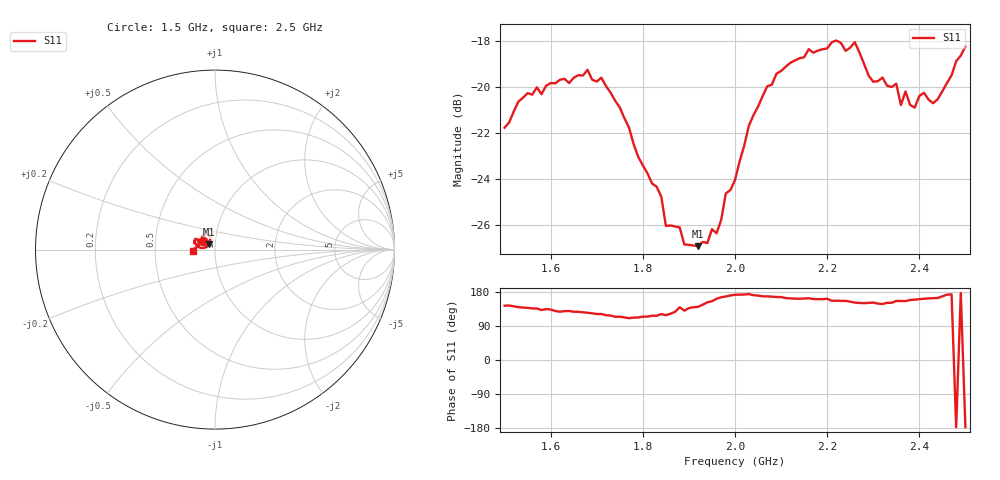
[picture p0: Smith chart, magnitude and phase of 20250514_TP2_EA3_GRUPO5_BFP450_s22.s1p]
# HZ S RI R 50
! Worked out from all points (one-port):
!   101 points, 1.5 GHz to 2.5 GHz, reference 50 ohm
!   lowest |S11| = -26.9 dB at 1.92 GHz (marker M1), VSWR 1.09, Z = 46.6 + j2.7 ohm
!   |S11| at or under -10 dB: start of sweep to end of sweep
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1.5e9  -0.0656 0.0488
1.55e9  -0.0719 0.0653
1.63e9  -0.0656 0.0812
1.68e9  -0.0621 0.0899
1.75e9  -0.0372 0.0824
1.79e9  -0.0267 0.0654
1.84e9  -0.03 0.0495
1.85e9  -0.0237 0.044
1.88e9  -0.0375 0.0324
1.89e9  -0.0294 0.0348
1.92e9  -0.0347 0.0289
1.96e9  -0.0457 0.0152
1.98e9  -0.0574 0.0125
2e9  -0.0623 0.00854
2.03e9  -0.082 0.00867
2.07e9  -0.0983 0.0211
2.13e9  -0.1088 0.0357
2.22e9  -0.116 0.0505
2.25e9  -0.1097 0.0535
2.26e9  -0.1103 0.0598
2.3e9  -0.0906 0.0488
2.35e9  -0.093 0.0417
2.36e9  -0.0834 0.0377
2.37e9  -0.0891 0.0407
2.38e9  -0.0852 0.0337
2.41e9  -0.0923 0.0309
2.44e9  -0.0906 0.0264
2.5e9  -0.1226 -0.00588
